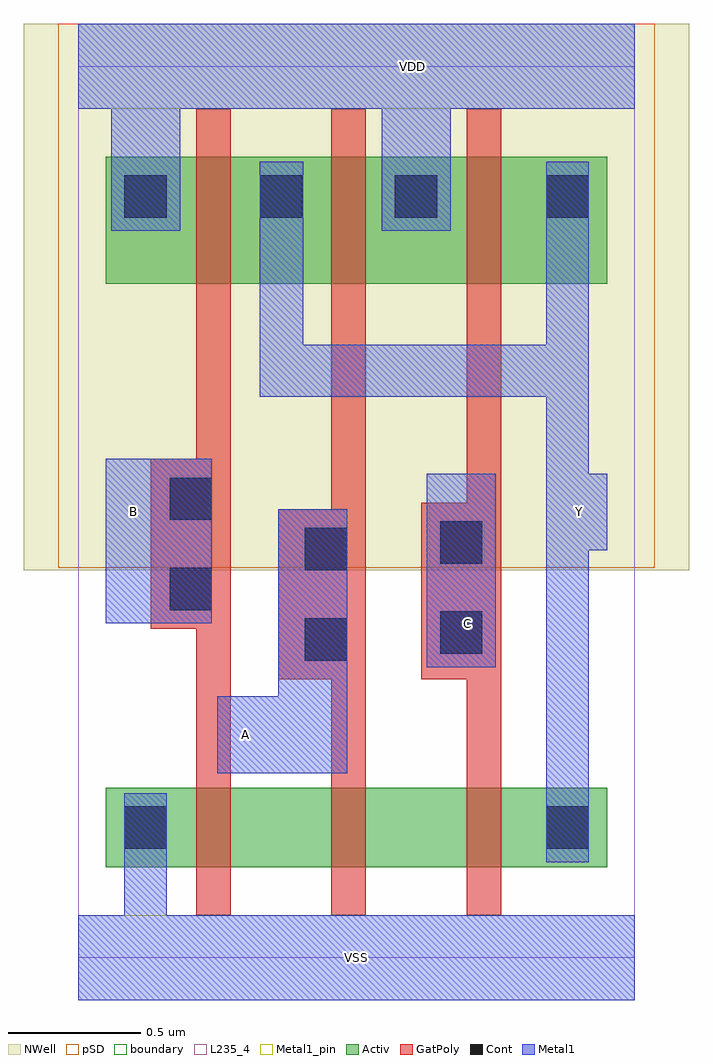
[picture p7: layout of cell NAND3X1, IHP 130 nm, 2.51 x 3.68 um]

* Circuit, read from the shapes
.subckt NAND3X1 A B C VDD VSS Y
XM1 n1 B VSS VSUBS sg13_lv_nmos w=0.3u l=0.13u
XM2 n2 A n1 VSUBS sg13_lv_nmos w=0.3u l=0.13u
XM3 Y C n2 VSUBS sg13_lv_nmos w=0.3u l=0.13u
XM4 Y B VDD n3 sg13_lv_pmos w=0.48u l=0.13u
XM5 VDD A Y n3 sg13_lv_pmos w=0.48u l=0.13u
XM6 Y C VDD n3 sg13_lv_pmos w=0.48u l=0.13u
.ends

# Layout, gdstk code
import gdstk
lib = gdstk.Library(unit=1e-6, precision=1e-09)
def R(c, l, rs):  # rectangles x0, y0, x1, y1
    for r in rs: c.add(gdstk.rectangle(r[:2], r[2:], *l))
def A(c, l, x, y, w, h, nx, ny, dx, dy):  # array of equal rectangles
    R(c, l, [(x+i*dx, y+j*dy, x+i*dx+w, y+j*dy+h) for i in range(nx) for j in range(ny)])
def P(c, l, *ps):  # polygons
    for p in ps: c.add(gdstk.Polygon(p, *l))
Activ = (1, 0)
GatPoly = (5, 0)
Cont = (6, 0)
Metal1 = (8, 0)
Metal1_pin = (8, 2)
pSD = (14, 0)
NWell = (31, 0)
boundary = (189, 4)
L235_4 = (235, 4)

nand3x1 = lib.new_cell('NAND3X1')
R(nand3x1, Activ, [(0.105,0.34,1.995,0.64), (0.105,2.54,1.995,3.02)])
P(nand3x1, GatPoly, [(0.445,0.16),(0.445,1.24),(0.275,1.24),(0.275,1.88),(0.445,1.88),(0.445,3.2),(0.575,3.2),(0.575,0.16)],
  [(1.465,0.16),(1.465,1.05),(1.295,1.05),(1.295,1.715),(1.465,1.715),(1.465,3.2),(1.595,3.2),(1.595,0.16)],
  [(0.955,0.16),(0.955,1.05),(0.755,1.05),(0.755,1.69),(0.955,1.69),(0.955,3.2),(1.085,3.2),(1.085,0.16)])
A(nand3x1, Cont, 0.175, 2.79, 0.16, 0.16, 3, 1, 0.51, 0)
R(nand3x1, Cont, [(0.175,0.41,0.335,0.57), (1.765,0.41,1.925,0.57), (0.855,1.12,1.015,1.28), (1.365,1.145,1.525,1.305), (0.345,1.31,0.505,1.47), (0.855,1.46,1.015,1.62), (1.365,1.485,1.525,1.645), (0.345,1.65,0.505,1.81), (1.765,2.79,1.925,2.95)])
R(nand3x1, Metal1, [(1.315,1.095,1.575,1.825), (0.105,1.26,0.505,1.88)])
P(nand3x1, Metal1, [(0,-0.16),(0,0.16),(0.175,0.16),(0.175,0.62),(0.335,0.62),(0.335,0.16),(2.1,0.16),(2.1,-0.16)],
  [(1.765,0.36),(1.765,2.115),(0.685,2.115),(0.685,3),(0.85,3),(0.85,2.31),(1.765,2.31),(1.765,3),(1.925,3),(1.925,1.825),(1.995,1.825),(1.995,1.535),(1.925,1.535),(1.925,0.36)],
  [(0.525,0.695),(0.525,0.985),(0.755,0.985),(0.755,1.69),(1.015,1.69),(1.015,0.695)],
  [(0.125,2.74),(0.125,3.2),(0,3.2),(0,3.52),(2.1,3.52),(2.1,3.2),(1.405,3.2),(1.405,2.74),(1.145,2.74),(1.145,3.2),(0.385,3.2),(0.385,2.74)])
R(nand3x1, Metal1_pin, [(0,-0.16,2.1,0.16), (0.525,0.695,1.015,0.985), (1.315,1.095,1.575,1.825), (0.105,1.26,0.505,1.88), (0,3.2,2.1,3.52)])
P(nand3x1, Metal1_pin, [(1.765,0.36),(1.765,2.115),(0.685,2.115),(0.685,3),(0.85,3),(0.85,2.31),(1.765,2.31),(1.765,3),(1.925,3),(1.925,1.825),(1.995,1.825),(1.995,1.535),(1.925,1.535),(1.925,0.36)],
  [(0.525,0.695),(0.525,0.985),(0.755,0.985),(0.755,1.69),(1.015,1.69),(1.015,0.695)])
R(nand3x1, pSD, [(-0.075,1.47,2.175,3.52)])
R(nand3x1, NWell, [(-0.205,1.46,2.305,3.52)])
R(nand3x1, boundary, [(0,0,2.1,3.36)])
R(nand3x1, L235_4, [(0,0,2.1,3.36)])
nand3x1.add(gdstk.Label('VSS', (1.05,0), layer=8, texttype=25))
nand3x1.add(gdstk.Label('C', (1.47,1.26), layer=8, texttype=25))
nand3x1.add(gdstk.Label('Y', (1.89,1.68), layer=8, texttype=25))
nand3x1.add(gdstk.Label('A', (0.63,0.84), layer=8, texttype=25))
nand3x1.add(gdstk.Label('VDD', (1.26,3.36), layer=8, texttype=25))
nand3x1.add(gdstk.Label('B', (0.21,1.68), layer=8, texttype=25))

lib.write_gds('NAND3X1.gds')
